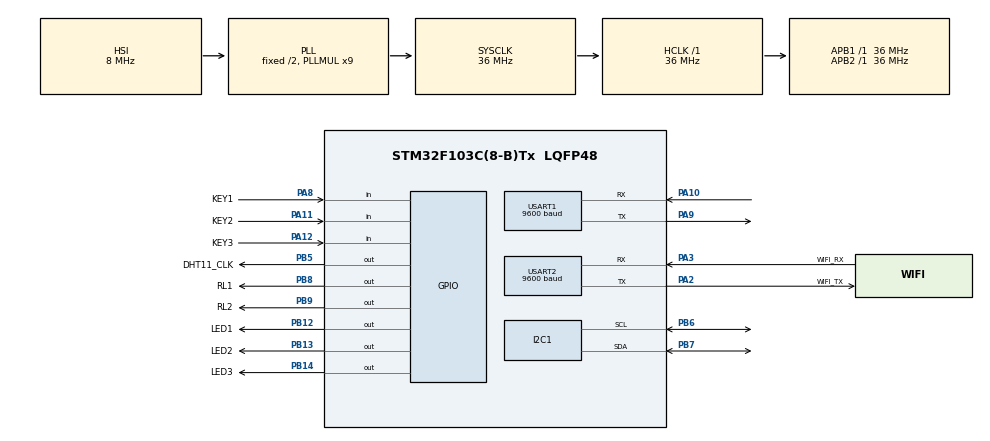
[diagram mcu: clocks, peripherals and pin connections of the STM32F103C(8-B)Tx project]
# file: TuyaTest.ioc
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Mcu.Family=STM32F1
Mcu.Name=STM32F103C(8-B)Tx
Mcu.Package=LQFP48
NVIC.PriorityGroup=NVIC_PRIORITYGROUP_2
NVIC.TIM4_IRQn=true\:1\:0\:true\:false\:true\:true\:true
NVIC.USART1_IRQn=true\:2\:0\:true\:false\:true\:true\:true
NVIC.USART2_IRQn=true\:0\:0\:false\:false\:true\:true\:true
PA10.Mode=Asynchronous
PA10.Signal=USART1_RX
PA11.GPIO_Label=KEY2
PA11.Signal=GPIO_Input
PA12.GPIO_Label=KEY3
PA12.Signal=GPIO_Input
PA13.Mode=Serial_Wire
PA13.Signal=SYS_JTMS-SWDIO
PA14.Mode=Serial_Wire
PA14.Signal=SYS_JTCK-SWCLK
PA2.GPIO_Label=WIFI_TX
PA2.Mode=Asynchronous
PA2.Signal=USART2_TX
PA3.GPIO_Label=WIFI_RX
PA3.Mode=Asynchronous
PA3.Signal=USART2_RX
PA8.GPIO_Label=KEY1
PA8.Signal=GPIO_Input
PA9.Mode=Asynchronous
PA9.Signal=USART1_TX
PB12.GPIO_Label=LED1
PB12.Signal=GPIO_Output
PB13.GPIO_Label=LED2
PB13.Signal=GPIO_Output
PB14.GPIO_Label=LED3
PB14.Signal=GPIO_Output
PB5.GPIO_Label=DHT11_CLK
PB5.GPIO_ModeDefaultOutputPP=GPIO_MODE_OUTPUT_OD
PB5.GPIO_PuPd=GPIO_NOPULL
PB5.GPIO_Speed=GPIO_SPEED_FREQ_HIGH
PB5.PinState=GPIO_PIN_RESET
PB5.Signal=GPIO_Output
PB6.Mode=I2C
PB6.Signal=I2C1_SCL
PB7.Mode=I2C
PB7.Signal=I2C1_SDA
PB8.GPIO_Label=RL1
PB8.Signal=GPIO_Output
PB9.GPIO_Label=RL2
PB9.Signal=GPIO_Output
ProjectManager.HeapSize=0x200
ProjectManager.StackSize=0x400
ProjectManager.TargetToolchain=MDK-ARM V5.27
RCC.AHBFreq_Value=36000000
RCC.APB1Freq_Value=36000000
RCC.APB1TimFreq_Value=36000000
RCC.APB2Freq_Value=36000000
RCC.APB2TimFreq_Value=36000000
RCC.HCLKFreq_Value=36000000
RCC.PLLMUL=RCC_PLL_MUL9
RCC.SYSCLKFreq_VALUE=36000000
RCC.SYSCLKSource=RCC_SYSCLKSOURCE_PLLCLK
RCC.USBFreq_Value=36000000
TIM3.Prescaler=35
TIM3.TIM_MasterOutputTrigger=TIM_TRGO_ENABLE
TIM4.Period=1000
TIM4.Prescaler=35
USART1.BaudRate=9600
USART1.VirtualMode=VM_ASYNC
USART2.BaudRate=9600
USART2.VirtualMode=VM_ASYNC
VP_TIM3_VS_ClockSourceINT.Mode=Internal
VP_TIM4_VS_ClockSourceINT.Mode=Internal
board=custom

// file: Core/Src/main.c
/* USER CODE BEGIN Header */
/**
  ******************************************************************************
  * @file           : main.c
  * @brief          : Main program body
  ******************************************************************************
  * @attention
  *
  * <h2><center>&copy; Copyright (c) 2021 STMicroelectronics.
  * All rights reserved.</center></h2>
  *
  * This software component is licensed by ST under BSD 3-Clause license,
  * the "License"; You may not use this file except in compliance with the
  * License. You may obtain a copy of the License at:
  *                        opensource.org/licenses/BSD-3-Clause
  *
  ******************************************************************************
  */
/* USER CODE END Header */
#include "main.h"
#include "i2c.h"
#include "tim.h"
#include "usart.h"
#include "gpio.h"

/* USER CODE BEGIN Includes */
#include "wifi.h"
#include "DHT11.h"
uint8_t temp_sampling_period = 0;
extern uint8_t keyLongPress;
/* USER CODE END Includes */

/* USER CODE BEGIN PV */
unsigned char statuse = 0;
extern uint16_t count;
/* USER CODE END PV */

void SystemClock_Config(void);

int main(void)
{

  /* MCU Configuration--------------------------------------------------------*/

  /* Reset of all peripherals, Initializes the Flash interface and the Systick. */
  HAL_Init();

  /* Configure the system clock */
  SystemClock_Config();

  /* Initialize all configured peripherals */
  MX_GPIO_Init();
  MX_I2C1_Init();
  MX_TIM4_Init();
  MX_USART1_UART_Init();
  MX_USART2_UART_Init();
  MX_TIM3_Init();
  /* USER CODE BEGIN 2 */
  KeyRegister();
  wifi_protocol_init();
  HAL_TIM_Base_Start_IT(&htim4);
  HAL_GPIO_WritePin(LED1_GPIO_Port,LED1_Pin,GPIO_PIN_SET);
  HAL_GPIO_WritePin(LED2_GPIO_Port,LED2_Pin,GPIO_PIN_SET);
  HAL_GPIO_WritePin(LED3_GPIO_Port,LED3_Pin,GPIO_PIN_SET);
//  printf("11331234\r\n");
  /* USER CODE END 2 */

  /* Infinite loop */
  /* USER CODE BEGIN WHILE */
  HAL_UART_Receive_IT(&huart1,Res1,1);			// Enable the USART1 Interrupt
  HAL_UART_Receive_IT(&huart2,Res2,1);			// Enable the USART2 Interrupt
  while (1)
  {
    /* USER CODE END WHILE */

    /* USER CODE BEGIN 3 */
	  WifiLedStatus();
	  wifi_uart_service();
	  if(keyLongPress == 1)
	  {
		keyLongPress = 0;
		mcu_reset_wifi();
	  }
	  if(count >= temp_sampling_period*1000)
	  {
		count = 0;
		DHT11_Read_Data();//DHT11,温湿度采集
		mcu_dp_value_update(DPID_TEMP_CURRENT,(DHT11Data[2]*10+DHT11Data[3])); //当前当前温度VALUE型数据上报;
		mcu_dp_value_update(DPID_HUMIDITY_VALUE,DHT11Data[0]); //当前当前湿度VALUE型数据上报;
	  }
  }
  /* USER CODE END 3 */
}

void SystemClock_Config(void)
{
  RCC_OscInitTypeDef RCC_OscInitStruct = {0};
  RCC_ClkInitTypeDef RCC_ClkInitStruct = {0};

  /** Initializes the RCC Oscillators according to the specified parameters
  * in the RCC_OscInitTypeDef structure.
  */
  RCC_OscInitStruct.OscillatorType = RCC_OSCILLATORTYPE_HSI;
  RCC_OscInitStruct.HSIState = RCC_HSI_ON;
  RCC_OscInitStruct.HSICalibrationValue = RCC_HSICALIBRATION_DEFAULT;
  RCC_OscInitStruct.PLL.PLLState = RCC_PLL_ON;
  RCC_OscInitStruct.PLL.PLLSource = RCC_PLLSOURCE_HSI_DIV2;
  RCC_OscInitStruct.PLL.PLLMUL = RCC_PLL_MUL9;
  if (HAL_RCC_OscConfig(&RCC_OscInitStruct) != HAL_OK)
  {
    Error_Handler();
  }
  /** Initializes the CPU, AHB and APB buses clocks
  */
  RCC_ClkInitStruct.ClockType = RCC_CLOCKTYPE_HCLK|RCC_CLOCKTYPE_SYSCLK
                              |RCC_CLOCKTYPE_PCLK1|RCC_CLOCKTYPE_PCLK2;
  RCC_ClkInitStruct.SYSCLKSource = RCC_SYSCLKSOURCE_PLLCLK;
  RCC_ClkInitStruct.AHBCLKDivider = RCC_SYSCLK_DIV1;
  RCC_ClkInitStruct.APB1CLKDivider = RCC_HCLK_DIV1;
  RCC_ClkInitStruct.APB2CLKDivider = RCC_HCLK_DIV1;

  if (HAL_RCC_ClockConfig(&RCC_ClkInitStruct, FLASH_LATENCY_1) != HAL_OK)
  {
    Error_Handler();
  }
}

/* USER CODE BEGIN 4 */
void WifiLedStatus(void)
{
  switch(mcu_get_wifi_work_state())
  {
	  case 0x00://smart配置模式,绿灯亮。
			HAL_GPIO_WritePin(LED2_GPIO_Port,LED2_Pin,GPIO_PIN_RESET);
			HAL_GPIO_WritePin(LED3_GPIO_Port,LED3_Pin,GPIO_PIN_SET);
		break;
	  case 0x01://AP配置模式，绿灯亮。
			HAL_GPIO_WritePin(LED2_GPIO_Port,LED2_Pin,GPIO_PIN_RESET);
			HAL_GPIO_WritePin(LED3_GPIO_Port,LED3_Pin,GPIO_PIN_SET);
		break;
	  case 0x02://WIFI已配置，但未连接路由器，蓝灯亮。
			HAL_GPIO_WritePin(LED2_GPIO_Port,LED2_Pin,GPIO_PIN_SET);
			HAL_GPIO_WritePin(LED3_GPIO_Port,LED3_Pin,GPIO_PIN_RESET);

		break;
	  case 0x03://WIFI已配置，且已连接路由器，绿、蓝灯灭。
			HAL_GPIO_WritePin(LED2_GPIO_Port,LED2_Pin,GPIO_PIN_SET);
			HAL_GPIO_WritePin(LED3_GPIO_Port,LED3_Pin,GPIO_PIN_SET);
		break;
	  case 0x04://模组连接路由器，且成功连接涂鸦云，绿、蓝灯亮
			HAL_GPIO_WritePin(LED2_GPIO_Port,LED2_Pin,GPIO_PIN_RESET);
			HAL_GPIO_WritePin(LED3_GPIO_Port,LED3_Pin,GPIO_PIN_RESET);
		break;
	  default:break;
  }
}

/* USER CODE END 4 */

void Error_Handler(void)
{
  __disable_irq();
  while (1)
  {
  }
}

/************************ (C) COPYRIGHT STMicroelectronics *****END OF FILE****/
